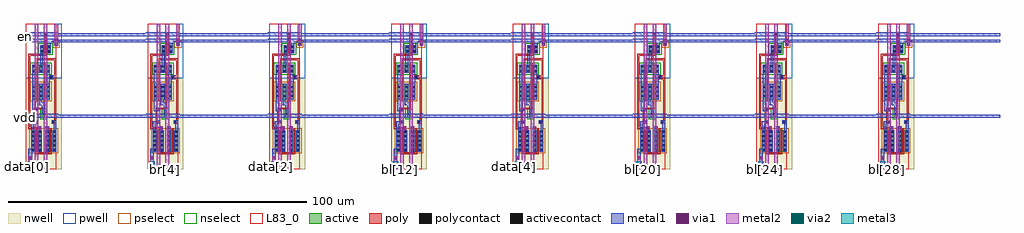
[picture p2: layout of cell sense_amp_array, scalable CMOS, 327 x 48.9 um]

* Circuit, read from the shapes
.subckt sense_amp_array bl[0] bl[12] bl[16] bl[20] bl[24] bl[28] bl[4] bl[8] br[0] br[12] br[16] br[20] br[24] br[28] br[4] br[8] data[0] data[1] data[2] data[3] data[4] data[5] data[6] data[7] en gnd vdd
M1 n1 n2 data[0] gnd nfet w=2.7u l=0.6u
M2 n2 data[0] n1 gnd nfet w=2.7u l=0.6u
M3 gnd en n1 gnd nfet w=2.7u l=0.6u
M4 n3 n4 data[1] gnd nfet w=2.7u l=0.6u
M5 n4 data[1] n3 gnd nfet w=2.7u l=0.6u
M6 gnd en n3 gnd nfet w=2.7u l=0.6u
M7 n5 n6 data[2] gnd nfet w=2.7u l=0.6u
M8 n6 data[2] n5 gnd nfet w=2.7u l=0.6u
M9 gnd en n5 gnd nfet w=2.7u l=0.6u
M10 n7 n8 data[3] gnd nfet w=2.7u l=0.6u
M11 n8 data[3] n7 gnd nfet w=2.7u l=0.6u
M12 gnd en n7 gnd nfet w=2.7u l=0.6u
M13 n9 n10 data[4] gnd nfet w=2.7u l=0.6u
M14 n10 data[4] n9 gnd nfet w=2.7u l=0.6u
M15 gnd en n9 gnd nfet w=2.7u l=0.6u
M16 n11 n12 data[5] gnd nfet w=2.7u l=0.6u
M17 n12 data[5] n11 gnd nfet w=2.7u l=0.6u
M18 gnd en n11 gnd nfet w=2.7u l=0.6u
M19 n13 n14 data[6] gnd nfet w=2.7u l=0.6u
M20 n14 data[6] n13 gnd nfet w=2.7u l=0.6u
M21 gnd en n13 gnd nfet w=2.7u l=0.6u
M22 n15 n16 data[7] gnd nfet w=2.7u l=0.6u
M23 n16 data[7] n15 gnd nfet w=2.7u l=0.6u
M24 gnd en n15 gnd nfet w=2.7u l=0.6u
M25 bl[0] en data[0] vdd pfet w=7.2u l=0.6u
M26 vdd n2 data[0] vdd pfet w=5.4u l=0.6u
M27 n2 data[0] vdd vdd pfet w=5.4u l=0.6u
M28 n2 en br[0] vdd pfet w=7.2u l=0.6u
M29 bl[4] en data[1] vdd pfet w=7.2u l=0.6u
M30 vdd n4 data[1] vdd pfet w=5.4u l=0.6u
M31 n4 data[1] vdd vdd pfet w=5.4u l=0.6u
M32 n4 en br[4] vdd pfet w=7.2u l=0.6u
M33 bl[8] en data[2] vdd pfet w=7.2u l=0.6u
M34 vdd n6 data[2] vdd pfet w=5.4u l=0.6u
M35 n6 data[2] vdd vdd pfet w=5.4u l=0.6u
M36 n6 en br[8] vdd pfet w=7.2u l=0.6u
M37 bl[12] en data[3] vdd pfet w=7.2u l=0.6u
M38 vdd n8 data[3] vdd pfet w=5.4u l=0.6u
M39 n8 data[3] vdd vdd pfet w=5.4u l=0.6u
M40 n8 en br[12] vdd pfet w=7.2u l=0.6u
M41 bl[16] en data[4] vdd pfet w=7.2u l=0.6u
M42 vdd n10 data[4] vdd pfet w=5.4u l=0.6u
M43 n10 data[4] vdd vdd pfet w=5.4u l=0.6u
M44 n10 en br[16] vdd pfet w=7.2u l=0.6u
M45 bl[20] en data[5] vdd pfet w=7.2u l=0.6u
M46 vdd n12 data[5] vdd pfet w=5.4u l=0.6u
M47 n12 data[5] vdd vdd pfet w=5.4u l=0.6u
M48 n12 en br[20] vdd pfet w=7.2u l=0.6u
M49 bl[24] en data[6] vdd pfet w=7.2u l=0.6u
M50 vdd n14 data[6] vdd pfet w=5.4u l=0.6u
M51 n14 data[6] vdd vdd pfet w=5.4u l=0.6u
M52 n14 en br[24] vdd pfet w=7.2u l=0.6u
M53 bl[28] en data[7] vdd pfet w=7.2u l=0.6u
M54 vdd n16 data[7] vdd pfet w=5.4u l=0.6u
M55 n16 data[7] vdd vdd pfet w=5.4u l=0.6u
M56 n16 en br[28] vdd pfet w=7.2u l=0.6u
.ends

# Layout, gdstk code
import gdstk
lib = gdstk.Library(unit=1e-6, precision=1e-09)
def R(c, l, rs):  # rectangles x0, y0, x1, y1
    for r in rs: c.add(gdstk.rectangle(r[:2], r[2:], *l))
def A(c, l, x, y, w, h, nx, ny, dx, dy):  # array of equal rectangles
    R(c, l, [(x+i*dx, y+j*dy, x+i*dx+w, y+j*dy+h) for i in range(nx) for j in range(ny)])
pwell = (41, 0)
nwell = (42, 0)
active = (43, 0)
pselect = (44, 0)
nselect = (45, 0)
poly = (46, 0)
polycontact = (47, 0)
activecontact = (48, 0)
metal1 = (49, 0)
via1 = (50, 0)
metal2 = (51, 0)
via2 = (61, 0)
metal3 = (62, 0)
L83_0 = (83, 0)

sense_amp = lib.new_cell('sense_amp')
R(sense_amp, pwell, [(0,30.6,12,48.9)])
R(sense_amp, nwell, [(0,0,12,30.6)])
R(sense_amp, active, [(1.8,6,5.4,13.2), (6.6,6,10.2,13.2), (5.4,17.4,6.6,19.8), (2.1,23.4,8.1,28.8), (2.1,32.4,8.1,35.1), (4.8,39,8.4,41.7), (9.6,41.4,10.8,42.6)])
R(sense_amp, pselect, [(1.2,5.4,10.8,13.8), (1.5,22.8,8.7,29.4), (9,40.8,11.4,43.2)])
R(sense_amp, nselect, [(4.8,16.8,7.2,20.4), (1.5,31.8,8.7,35.7), (4.2,38.4,9,42.3)])
R(sense_amp, poly, [(3.3,5.1,8.7,5.7), (3.3,5.7,3.9,13.5), (8.1,5.7,8.7,13.8), (0.9,13.5,3.9,14.1), (0.9,14.1,1.5,38.1), (2.7,15.3,3.9,16.5), (8.7,15.3,10.2,16.5), (2.7,16.5,3.3,19.5), (9.6,16.5,10.2,30.3), (2.7,19.5,3.9,20.1), (2.7,20.1,6.6,20.7), (6,20.7,6.6,35.7), (3.6,22.8,4.2,36.6), (7.8,30.3,10.2,31.5), (9.6,31.5,10.2,36.6), (3.6,36.6,10.2,37.2), (0.9,38.1,6.9,38.7), (6.3,38.7,6.9,44.7), (6,44.7,7.2,45.9)])
R(sense_amp, polycontact, [(3,15.6,3.6,16.2), (9,15.6,9.6,16.2), (3,19.8,3.6,20.4), (8.1,30.6,8.7,31.2), (6.3,45,6.9,45.6)])
A(sense_amp, activecontact, 2.1, 6.3, 0.6, 0.6, 4, 5, 2.4, 1.5)
A(sense_amp, activecontact, 2.4, 24.3, 0.6, 0.6, 3, 3, 2.4, 1.5)
A(sense_amp, activecontact, 2.4, 32.7, 0.6, 0.6, 3, 2, 2.4, 1.5)
R(sense_amp, activecontact, [(5.7,18.3,6.3,18.9), (5.1,39.3,5.7,39.9), (7.5,39.3,8.1,39.9), (5.1,40.8,5.7,41.4), (7.5,40.8,8.1,41.4), (9.9,41.7,10.5,42.3)])
R(sense_amp, metal1, [(0.9,3.3,2.1,6), (0.9,6,3,6.9), (4.2,6,5.4,13.2), (6.6,6,7.8,14.4), (9,6,10.2,13.2), (1.8,6.9,3,13.2), (1.8,13.2,2.7,15.3), (3.9,13.2,5.1,14.4), (9.3,13.2,10.2,15.3), (1.8,15.3,3.9,16.2), (8.7,15.3,10.2,16.5), (2.7,16.2,3.9,16.5), (-0.6,17.4,10.8,18.6), (-0.6,17.4,10.8,18.6), (5.4,18.6,6.6,19.8), (2.1,19.5,3.9,20.7), (5.4,19.8,6.3,21.6), (2.1,20.7,3.3,35.1), (4.5,21.6,6.3,22.5), (4.5,22.5,5.4,23.4), (4.5,23.4,5.7,28.8), (6.9,23.4,8.1,30.3), (6.9,30.3,9,31.5), (6.9,31.5,8.1,35.1), (4.5,32.4,5.7,35.1), (4.8,35.1,5.7,39), (4.8,39,6,41.7), (7.2,39,8.4,42.6), (9.6,41.4,10.8,42.6), (-0.6,42.6,10.8,43.8), (-0.6,42.6,10.8,43.8), (-0.6,44.7,10.8,45.9), (-0.6,44.7,10.8,45.9)])
R(sense_amp, via1, [(1.2,3.6,1.8,4.2), (4.2,13.5,4.8,14.1), (6.9,13.5,7.5,14.1), (9.9,42.9,10.5,43.5)])
R(sense_amp, metal2, [(0.9,0,2.1,4.5), (3,0,4.2,13.2), (3,0,4.2,13.2), (6,0,7.2,13.2), (6,0,7.2,13.2), (3,13.2,5.1,14.4), (6,13.2,7.8,14.4), (3,14.4,4.2,48.9), (6,14.4,7.2,48.9), (9.6,41.4,10.8,48.9)])
R(sense_amp, via2, [(1.2,1.5,1.8,2.1)])
R(sense_amp, metal3, [(0.6,0.9,2.4,2.7), (0.6,0.9,2.4,2.7)])
R(sense_amp, L83_0, [(0,0,10.2,48.9)])
sense_amp.add(gdstk.Label('vdd', (0,17.4), layer=49, texttype=0))
sense_amp.add(gdstk.Label('en', (0,44.7), layer=49, texttype=0))
sense_amp.add(gdstk.Label('gnd', (0,42.6), layer=49, texttype=0))
sense_amp.add(gdstk.Label('bl', (3,0), layer=51, texttype=0))
sense_amp.add(gdstk.Label('br', (6,0), layer=51, texttype=0))
sense_amp.add(gdstk.Label('dout', (0.9,0.9), layer=62, texttype=0))
sense_amp.add(gdstk.Label('en', (-0.6,44.7), layer=49, texttype=0))
sense_amp.add(gdstk.Label('dout', (0.6,0.9), layer=62, texttype=0))
sense_amp.add(gdstk.Label('br', (6,0), layer=51, texttype=0))
sense_amp.add(gdstk.Label('bl', (3,0), layer=51, texttype=0))
sense_amp.add(gdstk.Label('vdd', (-0.6,17.4), layer=49, texttype=0))
sense_amp.add(gdstk.Label('gnd', (-0.6,42.6), layer=49, texttype=0))

sense_amp_array = lib.new_cell('sense_amp_array')
R(sense_amp_array, metal1, [(0,17.4,326.4,18.3), (0,17.4,326.4,18.3), (0,42.6,326.4,43.5), (0,42.6,326.4,43.5), (0,44.7,326.4,45.6), (0,44.7,326.4,45.6)])
R(sense_amp_array, metal2, [(3,0,4.2,13.2), (3,0,4.2,13.2), (6,0,7.2,13.2), (6,0,7.2,13.2), (43.8,0,45,13.2), (43.8,0,45,13.2), (46.8,0,48,13.2), (46.8,0,48,13.2), (84.6,0,85.8,13.2), (84.6,0,85.8,13.2), (87.6,0,88.8,13.2), (87.6,0,88.8,13.2), (125.4,0,126.6,13.2), (125.4,0,126.6,13.2), (128.4,0,129.6,13.2), (128.4,0,129.6,13.2), (166.2,0,167.4,13.2), (166.2,0,167.4,13.2), (169.2,0,170.4,13.2), (169.2,0,170.4,13.2), (207,0,208.2,13.2), (207,0,208.2,13.2), (210,0,211.2,13.2), (210,0,211.2,13.2), (247.8,0,249,13.2), (247.8,0,249,13.2), (250.8,0,252,13.2), (250.8,0,252,13.2), (288.6,0,289.8,13.2), (288.6,0,289.8,13.2), (291.6,0,292.8,13.2), (291.6,0,292.8,13.2)])
R(sense_amp_array, metal3, [(0.6,0.9,2.4,2.7), (0.6,0.9,2.4,2.7), (41.4,0.9,43.2,2.7), (41.4,0.9,43.2,2.7), (82.2,0.9,84,2.7), (82.2,0.9,84,2.7), (123,0.9,124.8,2.7), (123,0.9,124.8,2.7), (163.8,0.9,165.6,2.7), (163.8,0.9,165.6,2.7), (204.6,0.9,206.4,2.7), (204.6,0.9,206.4,2.7), (245.4,0.9,247.2,2.7), (245.4,0.9,247.2,2.7), (286.2,0.9,288,2.7), (286.2,0.9,288,2.7)])
sense_amp_array.add(gdstk.Reference(sense_amp, (0,0)))
sense_amp_array.add(gdstk.Reference(sense_amp, (40.8,0)))
sense_amp_array.add(gdstk.Reference(sense_amp, (81.6,0)))
sense_amp_array.add(gdstk.Reference(sense_amp, (122.4,0)))
sense_amp_array.add(gdstk.Reference(sense_amp, (163.2,0)))
sense_amp_array.add(gdstk.Reference(sense_amp, (204,0)))
sense_amp_array.add(gdstk.Reference(sense_amp, (244.8,0)))
sense_amp_array.add(gdstk.Reference(sense_amp, (285.6,0)))
sense_amp_array.add(gdstk.Reference(sense_amp, (0,0)))
sense_amp_array.add(gdstk.Reference(sense_amp, (40.8,0)))
sense_amp_array.add(gdstk.Reference(sense_amp, (81.6,0)))
sense_amp_array.add(gdstk.Reference(sense_amp, (122.4,0)))
sense_amp_array.add(gdstk.Reference(sense_amp, (163.2,0)))
sense_amp_array.add(gdstk.Reference(sense_amp, (204,0)))
sense_amp_array.add(gdstk.Reference(sense_amp, (244.8,0)))
sense_amp_array.add(gdstk.Reference(sense_amp, (285.6,0)))
sense_amp_array.add(gdstk.Label('data[0]', (0.6,0.9), layer=62, texttype=0))
sense_amp_array.add(gdstk.Label('bl[12]', (125.4,0), layer=51, texttype=0))
sense_amp_array.add(gdstk.Label('bl[20]', (207,0), layer=51, texttype=0))
sense_amp_array.add(gdstk.Label('bl[24]', (247.8,0), layer=51, texttype=0))
sense_amp_array.add(gdstk.Label('en', (0,44.7), layer=49, texttype=0))
sense_amp_array.add(gdstk.Label('br[0]', (6,0), layer=51, texttype=0))
sense_amp_array.add(gdstk.Label('br[4]', (46.8,0), layer=51, texttype=0))
sense_amp_array.add(gdstk.Label('br[20]', (210,0), layer=51, texttype=0))
sense_amp_array.add(gdstk.Label('bl[28]', (288.6,0), layer=51, texttype=0))
sense_amp_array.add(gdstk.Label('data[6]', (245.4,0.9), layer=62, texttype=0))
sense_amp_array.add(gdstk.Label('br[24]', (250.8,0), layer=51, texttype=0))
sense_amp_array.add(gdstk.Label('data[2]', (82.2,0.9), layer=62, texttype=0))
sense_amp_array.add(gdstk.Label('data[4]', (163.8,0.9), layer=62, texttype=0))
sense_amp_array.add(gdstk.Label('bl[16]', (166.2,0), layer=51, texttype=0))
sense_amp_array.add(gdstk.Label('data[1]', (41.4,0.9), layer=62, texttype=0))
sense_amp_array.add(gdstk.Label('data[3]', (123,0.9), layer=62, texttype=0))
sense_amp_array.add(gdstk.Label('br[28]', (291.6,0), layer=51, texttype=0))
sense_amp_array.add(gdstk.Label('br[12]', (128.4,0), layer=51, texttype=0))
sense_amp_array.add(gdstk.Label('bl[0]', (3,0), layer=51, texttype=0))
sense_amp_array.add(gdstk.Label('bl[4]', (43.8,0), layer=51, texttype=0))
sense_amp_array.add(gdstk.Label('vdd', (0,17.4), layer=49, texttype=0))
sense_amp_array.add(gdstk.Label('data[7]', (286.2,0.9), layer=62, texttype=0))
sense_amp_array.add(gdstk.Label('br[16]', (169.2,0), layer=51, texttype=0))
sense_amp_array.add(gdstk.Label('gnd', (0,42.6), layer=49, texttype=0))
sense_amp_array.add(gdstk.Label('br[8]', (87.6,0), layer=51, texttype=0))
sense_amp_array.add(gdstk.Label('bl[8]', (84.6,0), layer=51, texttype=0))
sense_amp_array.add(gdstk.Label('data[5]', (204.6,0.9), layer=62, texttype=0))
sense_amp_array.add(gdstk.Label('data[0]', (0.6,0.9), layer=62, texttype=0))
sense_amp_array.add(gdstk.Label('bl[12]', (125.4,0), layer=51, texttype=0))
sense_amp_array.add(gdstk.Label('bl[20]', (207,0), layer=51, texttype=0))
sense_amp_array.add(gdstk.Label('bl[24]', (247.8,0), layer=51, texttype=0))
sense_amp_array.add(gdstk.Label('en', (0,44.7), layer=49, texttype=0))
sense_amp_array.add(gdstk.Label('br[0]', (6,0), layer=51, texttype=0))
sense_amp_array.add(gdstk.Label('br[4]', (46.8,0), layer=51, texttype=0))
sense_amp_array.add(gdstk.Label('br[20]', (210,0), layer=51, texttype=0))
sense_amp_array.add(gdstk.Label('bl[28]', (288.6,0), layer=51, texttype=0))
sense_amp_array.add(gdstk.Label('data[6]', (245.4,0.9), layer=62, texttype=0))
sense_amp_array.add(gdstk.Label('br[24]', (250.8,0), layer=51, texttype=0))
sense_amp_array.add(gdstk.Label('data[2]', (82.2,0.9), layer=62, texttype=0))
sense_amp_array.add(gdstk.Label('data[4]', (163.8,0.9), layer=62, texttype=0))
sense_amp_array.add(gdstk.Label('bl[16]', (166.2,0), layer=51, texttype=0))
sense_amp_array.add(gdstk.Label('data[1]', (41.4,0.9), layer=62, texttype=0))
sense_amp_array.add(gdstk.Label('data[3]', (123,0.9), layer=62, texttype=0))
sense_amp_array.add(gdstk.Label('br[28]', (291.6,0), layer=51, texttype=0))
sense_amp_array.add(gdstk.Label('br[12]', (128.4,0), layer=51, texttype=0))
sense_amp_array.add(gdstk.Label('bl[0]', (3,0), layer=51, texttype=0))
sense_amp_array.add(gdstk.Label('bl[4]', (43.8,0), layer=51, texttype=0))
sense_amp_array.add(gdstk.Label('vdd', (0,17.4), layer=49, texttype=0))
sense_amp_array.add(gdstk.Label('data[7]', (286.2,0.9), layer=62, texttype=0))
sense_amp_array.add(gdstk.Label('br[16]', (169.2,0), layer=51, texttype=0))
sense_amp_array.add(gdstk.Label('gnd', (0,42.6), layer=49, texttype=0))
sense_amp_array.add(gdstk.Label('br[8]', (87.6,0), layer=51, texttype=0))
sense_amp_array.add(gdstk.Label('bl[8]', (84.6,0), layer=51, texttype=0))
sense_amp_array.add(gdstk.Label('data[5]', (204.6,0.9), layer=62, texttype=0))

lib.write_gds('sense_amp_array.gds')
